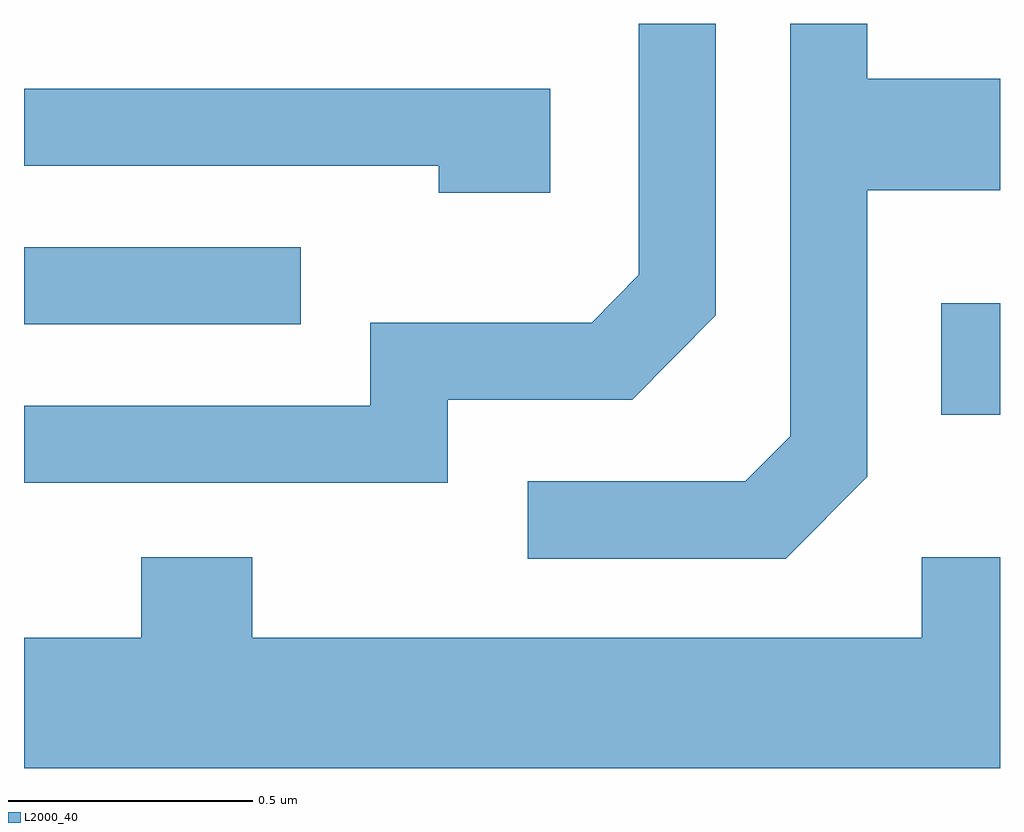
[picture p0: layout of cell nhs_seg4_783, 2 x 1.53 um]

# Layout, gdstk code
import gdstk
lib = gdstk.Library(unit=1e-6, precision=1e-09)
def R(c, l, rs):  # rectangles x0, y0, x1, y1
    for r in rs: c.add(gdstk.rectangle(r[:2], r[2:], *l))
def P(c, l, *ps):  # polygons
    for p in ps: c.add(gdstk.Polygon(p, *l))
L2000_40 = (2000, 40)

nhs_seg4_783 = lib.new_cell('nhs_seg4_783')
R(nhs_seg4_783, L2000_40, [(192.491,1353.181,192.611,1353.409), (190.611,1353.366,191.178,1353.524)])
P(nhs_seg4_783, L2000_40, [(191.479,1353.211),(191.857,1353.211),(192.029,1353.384),(192.029,1353.982),(191.871,1353.982),(191.871,1353.467),(191.774,1353.369),(191.321,1353.369),(191.321,1353.199),(190.611,1353.199),(190.611,1353.041),(191.479,1353.041)],
  [(192.339,1353.054),(192.339,1353.641),(192.611,1353.641),(192.611,1353.869),(192.339,1353.869),(192.339,1353.982),(192.181,1353.982),(192.181,1353.137),(192.089,1353.044),(191.643,1353.044),(191.643,1352.886),(192.172,1352.886)],
  [(191.689,1353.849),(190.611,1353.849),(190.611,1353.691),(191.461,1353.691),(191.461,1353.636),(191.689,1353.636)],
  [(192.611,1352.889),(192.451,1352.889),(192.451,1352.724),(191.079,1352.724),(191.079,1352.889),(190.851,1352.889),(190.851,1352.724),(190.611,1352.724),(190.611,1352.456),(192.611,1352.456)])

lib.write_gds('nhs_seg4_783.gds')
